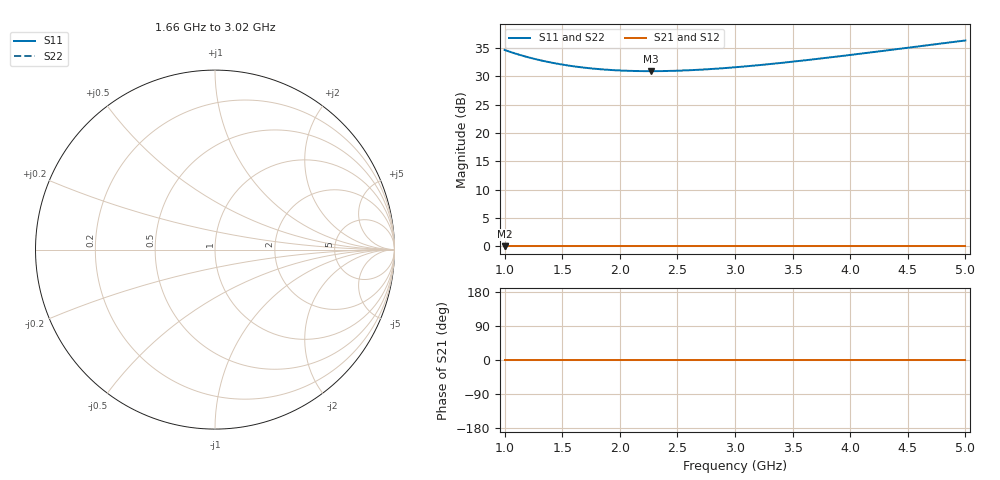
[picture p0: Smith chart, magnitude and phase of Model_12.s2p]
# GHZ S RI R 50
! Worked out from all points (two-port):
!   401 points, 1 GHz to 5 GHz, reference 50 ohm
!   highest |S21| = 0.00 dB at 1 GHz (marker M1); lowest = 0.0 dB at 1 GHz (marker M2)
!   |S21| within 3 dB of the highest: start of sweep to end of sweep
!   lowest |S11| = 30.9 dB at 2.27 GHz (marker M3)
!   |S11| at or under -10 dB: nowhere
!   |S22| runs from 30.9 to 36.3 dB; largest |S21 - S12| = 0
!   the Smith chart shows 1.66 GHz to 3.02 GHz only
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1  54 0  1 0  1 0  54 0
1.15  48.21 0  1 0  1 0  48.21 0
1.22  46.09 0  1 0  1 0  46.09 0
1.3  44.01 0  1 0  1 0  44.01 0
1.38  42.25 0  1 0  1 0  42.25 0
1.47  40.6 0  1 0  1 0  40.6 0
1.57  39.09 0  1 0  1 0  39.09 0
1.67  37.89 0  1 0  1 0  37.89 0
1.81  36.63 0  1 0  1 0  36.63 0
1.95  35.78 0  1 0  1 0  35.78 0
2.11  35.23 0  1 0  1 0  35.23 0
2.27  35.07 0  1 0  1 0  35.07 0
2.34  35.1 0  1 0  1 0  35.1 0
2.5  35.4 0  1 0  1 0  35.4 0
2.66  35.97 0  1 0  1 0  35.97 0
3  37.96 0  1 0  1 0  37.96 0
3.33  40.77 0  1 0  1 0  40.77 0
3.67  44.47 0  1 0  1 0  44.47 0
4  48.76 0  1 0  1 0  48.76 0
4.34  53.84 0  1 0  1 0  53.84 0
4.63  58.67 0  1 0  1 0  58.67 0
5  65.48 0  1 0  1 0  65.48 0
